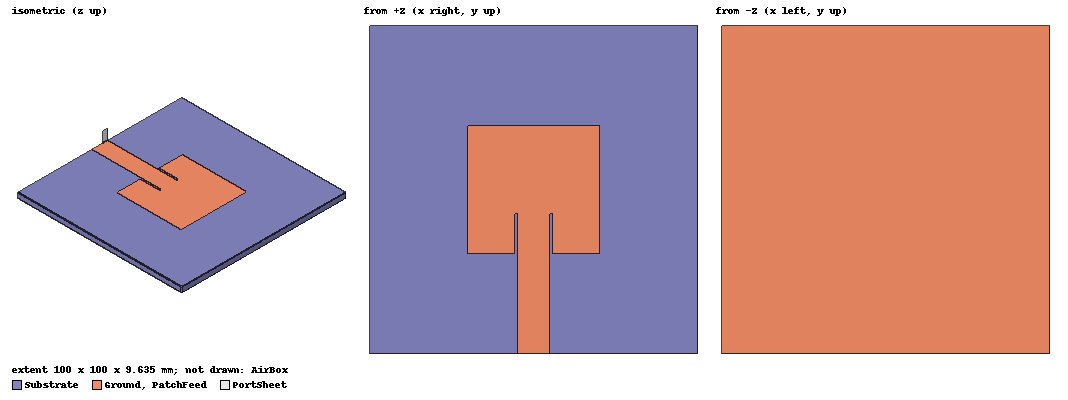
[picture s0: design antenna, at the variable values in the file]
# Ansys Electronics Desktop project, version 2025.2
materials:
  vacuum: permittivity=1
  Rogers5880_custom: permittivity=2.2 permeability=1 dielectric_loss_tangent=0.0009
  copper: permeability=0.999991 conductivity=58000000
  air: permittivity=1.0006 permeability=1.0000004
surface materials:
  Steel-oxidised-surface

design antenna (HFSS, HFSS Modal Network, model units mm)
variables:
  f0 = 2.45GHz
  sub_L = 100mm
  sub_W = 100mm
  h_sub = 3.175mm
  t_cu = 0.035mm
  patch_L = 39.2mm
  patch_W = 40mm
  feed_W = 9.6mm
  inset_D = 12.2mm
  gap = 1mm
  air_margin_xy = 35mm
  air_margin_z = 45mm
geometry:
  Substrate [Rogers5880_custom] = box(corner=(-sub_W/2, -sub_L/2, 0mm), size=(sub_W, sub_L, h_sub))
  Ground [copper] = box(corner=(-sub_W/2, -sub_L/2, -t_cu), size=(sub_W, sub_L, t_cu))
  PatchFeed [copper] = box(corner=(-patch_W/2, -patch_L/2+inset_D, h_sub), size=(patch_W, patch_L-inset_D, t_cu))
  Patch_LeftInsetArm = box(corner=(-patch_W/2, -patch_L/2, h_sub), size=(patch_W/2-feed_W/2-gap, inset_D, t_cu))
  Patch_RightInsetArm = box(corner=(feed_W/2+gap, -patch_L/2, h_sub), size=(patch_W/2-feed_W/2-gap, inset_D, t_cu))
  FeedLine = box(corner=(-feed_W/2, -sub_L/2, h_sub), size=(feed_W, sub_L/2-patch_L/2+inset_D, t_cu))
  PatchFeed.unite(Patch_LeftInsetArm, Patch_RightInsetArm, FeedLine)
  PortSheet = rectangle(corner=(-feed_W/2, -sub_L/2, 0mm), z_size=feed_W, x_size=h_sub+t_cu)
  AirBox [air] = box(corner=(-sub_W/2-air_margin_xy, -sub_L/2-air_margin_xy, -air_margin_z), size=(sub_W+2*air_margin_xy, sub_L+2*air_margin_xy, h_sub+t_cu+2*air_margin_z))
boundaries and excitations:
  Rad1: Radiation Objects=AirBox
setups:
  Setup1: HfssDriven Frequency=2.45GHz MaxDeltaE=0.01 MaximumPasses=12 MinimumPasses=2 MinimumConvergedPasses=2 PercentRefinement=30 BasisOrder=1 DrivenSolverType="Direct Solver"
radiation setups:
  Infinite Sphere1: Infinite Sphere Theta=0deg..180deg step 10deg Phi=0deg..180deg step 10deg
